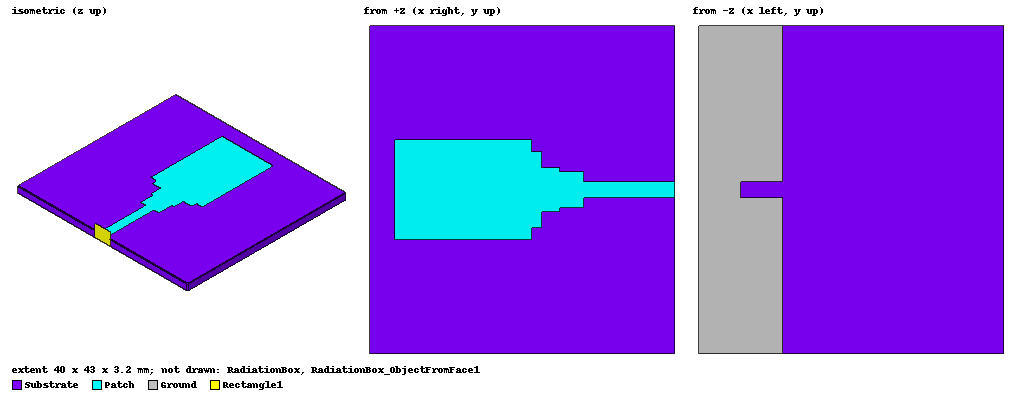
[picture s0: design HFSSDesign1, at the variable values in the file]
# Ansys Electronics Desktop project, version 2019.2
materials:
  vacuum: permittivity=1
  FR4_epoxy: permittivity=4.4 dielectric_loss_tangent=0.02
  air: permittivity=1.0006 permeability=1.0000004

design HFSSDesign1 (HFSS, DrivenModal, model units mm)
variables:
  Wp = 13mm
  Lp = 18mm
  W3 = 10mm
  L3 = 1.2mm
  L2 = 2.4mm
  W2 = 5.8mm
  L1 = 3.2mm
  W1 = 4.6mm
  Wf = 2.05mm
  Fl = 11.9mm
  Ws = 43mm
  Lgnd = 11mm
  h = 1.6mm
  Ls = 40mm
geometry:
  Patch = rectangle(corner=(0.5*Ls-L3-L2-L1-Fl, -0.5*Wp, 0), x_size=-Lp, y_size=Wp)
  Patch3 = rectangle(corner=(0.5*Ls-L3-L2-L1-Fl, (-W3/2), 0), x_size=L3, y_size=W3)
  Patch2 = rectangle(corner=(0.5*Ls-L2-L1-Fl, (-W2)/2, 0mm), x_size=L2, y_size=W2)
  Patch1 = rectangle(corner=(0.5*Ls-L1-Fl, (-W1)/2, 0mm), x_size=L1, y_size=W1)
  FeedLine = rectangle(corner=(0.5*Ls-Fl, (-Wf)/2, 0mm), x_size=Fl, y_size=Wf)
  Patch.unite(Patch3, Patch2, Patch1, FeedLine)
  Substrate [FR4_epoxy] = box(corner=(-0.5*Ls, -0.5*Ws, 0mm), size=(Ls, Ws, -h))
  RadiationBox [air] = box(corner=(Ls/2, -Ws, -h*10), size=(-Ls*2, Ws*2, h*20))
  Rectangle1 = rectangle(corner=(Ls/2, -Wf, h), y_size=2*Wf, z_size=-h*2)
  Rectangle2 = rectangle(corner=(Ls/2, -Wf, h), y_size=2*Wf, z_size=-h*2)
  RadiationBox_ObjectFromFace1 = object_from(RadiationBox.face(+x))
  RadiationBox_ObjectFromFace1.subtract(Rectangle2)
  Ground = rectangle(corner=(Ls/2-Lgnd, -Ws/2, -h), x_size=Lgnd, y_size=Ws)
  Rectangle3 = rectangle(corner=(0.5*Ls-Lgnd, (-Wf)/2, -h), x_size=Lgnd/2, y_size=Wf)
  Ground.subtract(Rectangle3)
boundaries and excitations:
  PerfE1: Perfect E Objects=Patch
  Rad1: Radiation Faces=RadiationBox_ObjectFromFace1.face RadiationBox.face(+z, +y, -z, -x, -y)
  PerfE2: Perfect E Objects=Ground
  1: Wave Port Objects=Rectangle1 NumModes=1 Modes{Mode1{IntLine{middle of Rectangle1.edge(z opposite corner) -> middle of Rectangle1.edge(z at corner)} CharImp=Zpi}}
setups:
  Setup1: HfssDriven Frequency=2GHz MaxDeltaS=0.02 MaximumPasses=20 MinimumPasses=1 MinimumConvergedPasses=1 PercentRefinement=30 BasisOrder=1 PortAccuracy=2
    sweep Sweep: 1GHz to 10GHz, 51 points; Type=Interpolating InterpTolerance=0.5 InterpMaxSolns=250 InterpUsePortImped=false PassivityErrorTolerance=0.0001
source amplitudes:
  1:1: 1W 0deg
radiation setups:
  Infinite Sphere1: Infinite Sphere Theta=-180deg..180deg step 10deg Phi=0deg..360deg step 10deg
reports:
  S11 Return Loss: dB(S(1,1)) vs Freq on Setup1 : Sweep; markers m1 at 1.6034499GHz, m2 at 2.26GHz, m3 at 4.24GHz
  Port Zo Plot 1: re(Zo(1)), im(Zo(1)) vs Freq on Setup1 : Sweep; markers m1 at 1GHz
  Phi = 0deg: dB(GainTotal) vs Theta on Setup1 : LastAdaptive, Infinite Sphere1 [Phi=0deg Freq=2GHz]
  Phi = 90deg: dB(GainTotal) vs Theta on Setup1 : LastAdaptive, Infinite Sphere1 [Phi=90deg Freq=2GHz]
  Theta = 90deg: dB(GainTotal) vs Phi on Setup1 : LastAdaptive, Infinite Sphere1 [Theta=90deg Freq=2GHz]
  VSWR: dB(VSWR(1)) vs Freq on Setup1 : Sweep; markers m1 at 2.26GHz
  Group Delay: abs(GroupDelay(1,1)) vs Freq on Setup1 : Sweep; markers m1 at 2.26GHz
  3D Gain Polar Plot: dB(GainTotal) vs Phi, Theta on Setup1 : LastAdaptive, Infinite Sphere1 [Freq=2GHz Wp=13mm Lp=18mm W3=10mm]
  Efficiency Gain Plot: dB(GainTotal), dB(DirTotal) vs Theta on Setup1 : LastAdaptive, Infinite Sphere1 [Phi=0deg Freq=2GHz]; markers m1 at 0deg
  Polarization: dB(DirPhi), dB(DirTheta) vs Theta on Setup1 : LastAdaptive, Infinite Sphere1 [Phi=0deg Freq=2GHz W2=5.8mm W1=4.6mm Wf=2.05mm]
